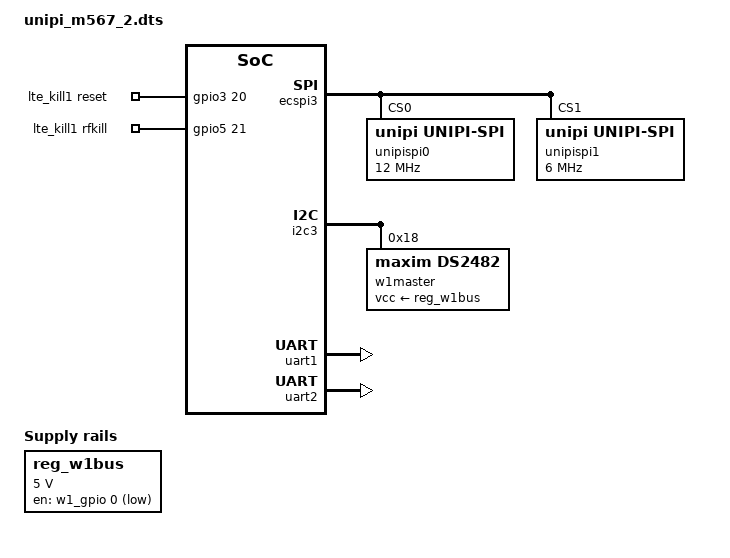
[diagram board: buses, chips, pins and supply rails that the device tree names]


/dts-v1/;
/plugin/;
/ {
	compatible = "unipi,zulu";

	fragment@0 {
		target = <&ecspi3>;
		__overlay__ {
			status = "okay";
			#address-cells = <1>;
			#size-cells = <0>;unipispi0: unipispi@0 {
				compatible = "unipi,unipi-spi";
				reg = <0>;
				spi-max-frequency = <12000000>;
				status = "okay";
				modbus-address = <1>;
				#address-cells = <1>;
				#size-cells = <0>;
				iogroup1: iogroup1 {
					reg = <1>;
					compatible = "unipi,unipi-mfd", "iogroup";
					fw_variant = <0x0010>, <0x0020>, <0x0030>;
					fw_name = "B-1000-1", "B-1000-2", "B-1000-3";
					board_name = "B-1000-1";
					sys_board_name = "B_1000";
					cycle_counter = <1032>;
					master_watchdog_enable = <6>;

					di {
						compatible = "unipi,gpio-di";
						gpio-controller;
						#gpio-cells = <2>;
						gpio-line-names = "DI1_1", "DI1_2", "DI1_3", "DI1_4";
						ngpio = <4>;
						value-reg = <0>;
						debounce-reg = <1010>;
						counter-reg = <8>;
					};
					do {
						compatible = "unipi,gpio-do";
						ngpio = <4>;
						value-coil = <0>;
						gpio-controller;
						#gpio-cells = <2>;
						gpio-line-names = "DO1_1", "DO1_2", "DO1_3", "DO1_4";
					};
					aio {
						compatible = "unipi,aio_legacy";
						ai-value-reg = <3>;
						ai-mode-reg = <1024>;
						ao-value-reg = <2>;
						ao-mode-reg = <1019>;
					};
					uart {
						compatible = "unipi,uart";
						port-count = <1>;
						port-line = <0>;
					};
					led {
						compatible = "unipi,leds";
						coil-range = <8 4>;
						label-prefix = "unipi:green:uled-x";
					};
					sysleds0:sysled {
						compatible = "unipi,leds";
						coil-range = <12 6>;
						#address-cells = <1>;
						#size-cells = <0>;
						label-prefix = "unipi:green:sysled-x";
					};
					w1_gpio: w1-gpio {
						compatible = "unipi,gpio-do";
						ngpio = <1>;
						value-coil = <1001>;
						gpio-controller;
						#gpio-cells = <2>;
						gpio-line-names = "W1-VCC";
					};
				};
			};
		unipispi1: unipispi@1 {
				compatible = "unipi,unipi-spi";
				reg = <1>;
				spi-max-frequency = <6000000>;
				status = "okay";
				modbus-address = <2>;
				#address-cells = <1>;
				#size-cells = <0>;
				iogroup2: iogroup2 {
					reg = <2>;
					compatible = "unipi,unipi-mfd", "iogroup";
					fw_variant = <0x1310>;
					fw_name = "E-4Ai4Ao_U-4Di5Ro-1";
					board_name = "E-4Ai4Ao-1";
					sys_board_name = "E_4Ai4Ao_U_4Di5Ro";
					cycle_counter = <1024>;
					master_watchdog_enable = <14>;

					di {
						compatible = "unipi,gpio-di";
						gpio-controller;
						#gpio-cells = <2>;
						gpio-line-names = "DI2_1","DI2_2","DI2_3","DI2_4";
						ngpio = <4>;
						value-reg = <0>;
						debounce-reg = <1010>;
						counter-reg = <16>;
					};
					do {
						compatible = "unipi,gpio-ro";
						ngpio = <5>;
						value-coil = <0>;
						gpio-controller;
						#gpio-cells = <2>;
						gpio-line-names = "RO2_1","RO2_2","RO2_3","RO2_4","RO2_5";
					};
					ai_chip {
						compatible = "unipi,ai";
						io-count = <4>;
						io-value-reg = <6>;
						io-mode-reg = <1019>;
					};
					ao_chip {
						compatible = "unipi,ao";
						io-count = <4>;
						io-value-reg = <2>;
					};
					uart {
						compatible = "unipi,uart";
						port-count = <1>;
						port-line = <1>;
					};
				};
			};
		
		};
	};

	fragment@1 {
		target = <&usbotg1>;
		__overlay__ {
			#address-cells = <1>;
			#size-cells = <0>;
			usbslot1: usbslot1@1 {
				reg = <1>;
			};
		};
	};
	fragment@13 {
		target-path = "/";
		__overlay__ {
			reg_w1bus: regulator-w1bus {
				compatible = "regulator-fixed";
				regulator-name = "w1-vcc";
				regulator-min-microvolt = <5000000>;
				regulator-max-microvolt = <5000000>;
				gpios = <&w1_gpio 0 1>;
				startup-delay-us = <100000>;
			};
		};
	};
	fragment@14 {
		target = <&i2c3>;
		__overlay__ {
			w1master:w1master@18 {
				compatible = "maxim,ds2482";
				reg = <0x18>;
				status = "okay";
				vcc-supply = <&reg_w1bus>;
			};
		};
	};

	
	fragment@10 {
		target = <&uart1>;
		__overlay__ {
			status = "okay";
			linux,rs485-enabled-at-boot-time;
		};
	};
	fragment@11 {
		target = <&uart2>;
		__overlay__ {
			status = "okay";
		};
	};

	fragment@12 {
		target-path = "/";
		__overlay__ {
			lte_kill1 {
				/* Timing is for Quectel EG-915U */
				compatible = "unipi,rfkill-quectel912";
				type = "wwan";
				reset-gpio = <&gpio3 20 0>;
				rfkill-gpio = <&gpio5 21 0>;
				monitor-usb = "usbslot1";
				start-pulse-ms = <2050>;
				stop-pulse-ms = <3050>;
				reset-pulse-ms = <150>;
			};
		};
	}; 

};


&iogroup1 {
	pinctrl-names = "default";
	pinctrl-0 = <&pinctrl_slotirq0>; 
	interrupt-parent = <&gpio4>;
	interrupts = <23 1>; /* EDGE RISING*/
};







&sysleds0 {
	lte-sim@0 {
		reg = <0>;
	};
	lte-net@1 {
		reg = <1>;
	};
	lte-sig@2 {
		reg = <2>;
	};
	lte-int@3 {
		reg = <3>;
	};
	rs485-2-txled@4 {
		reg = <4>;
		linux,default-trigger = "ttymxc0-tx";
	};
	rs485-2-rxled@5 {
		reg = <5>;
		linux,default-trigger = "ttymxc0-rx";
	};
};
